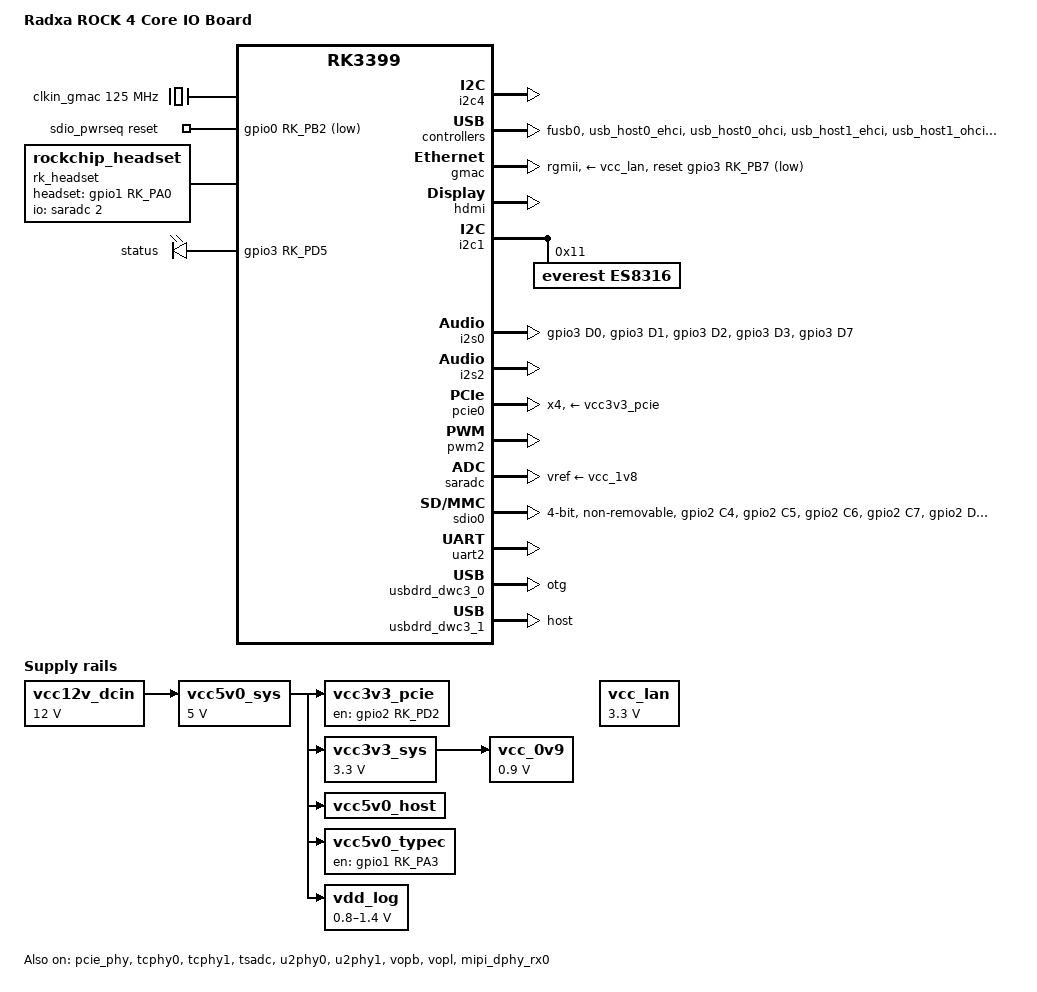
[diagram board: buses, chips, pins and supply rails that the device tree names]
// SPDX-License-Identifier: (GPL-2.0+ OR MIT)
/*
 * Copyright (c) 2019 Akash Gajjar <Akash_Gajjar@mentor.com>
 * Copyright (c) 2019 Pragnesh Patel <Pragnesh_Patel@mentor.com>
 */

/dts-v1/;
#include <dt-bindings/input/linux-event-codes.h>
#include <dt-bindings/pwm/pwm.h>
#include "rk3399-rock-4-core.dtsi"

/ {
	model = "Radxa ROCK 4 Core IO Board";
	compatible = "radxa,rock-4-core-io", "rockchip,rk3399";

	clkin_gmac: external-gmac-clock {
		compatible = "fixed-clock";
		clock-frequency = <125000000>;
		clock-output-names = "clkin_gmac";
		#clock-cells = <0>;
	};

	hdmi_sound: hdmi-sound {
		status = "okay";
		compatible = "rockchip,hdmi";
		rockchip,mclk-fs = <256>;
		rockchip,card-name = "rockchip-hdmi0";
		rockchip,cpu = <&i2s2>;
		rockchip,codec = <&hdmi>;
		rockchip,jack-det;
	};

	sdio_pwrseq: sdio-pwrseq {
		compatible = "mmc-pwrseq-simple";
		clocks = <&rk818 1>;
		clock-names = "ext_clock";
		pinctrl-names = "default";
		pinctrl-0 = <&wifi_enable_h>;
		reset-gpios = <&gpio0 RK_PB2 GPIO_ACTIVE_LOW>;
	};

	es8316_sound: es8316-sound {
		status = "okay";
		compatible = "simple-audio-card";
		simple-audio-card,format = "i2s";
		simple-audio-card,mclk-fs = <256>;
		simple-audio-card,name = "rockchip-es8316";
		simple-audio-card,dai-link@0 {
			format = "i2s";
			cpu {
				sound-dai = <&i2s0>;
			};
			codec {
				sound-dai = <&es8316>;
			};
		};
	};

	rk_headset: rk-headset {
		status = "okay";
		compatible = "rockchip_headset";
		headset_gpio = <&gpio1 RK_PA0 GPIO_ACTIVE_HIGH>;
		pinctrl-names = "default";
		pinctrl-0 = <&hp_det>;
		io-channels = <&saradc 2>;
	};

	vcc5v0_sys: vcc5v0-sys {
		compatible = "regulator-fixed";
		regulator-name = "vcc5v0_sys";
		regulator-min-microvolt = <5000000>;
		regulator-max-microvolt = <5000000>;
		regulator-always-on;
		regulator-boot-on;
		vin-supply = <&vcc12v_dcin>;
	};

	vcc12v_dcin: dc-12v {
		compatible = "regulator-fixed";
		regulator-name = "vcc12v_dcin";
		regulator-always-on;
		regulator-boot-on;
		regulator-min-microvolt = <12000000>;
		regulator-max-microvolt = <12000000>;
	};

	vcc_0v9: vcc-0v9 {
		compatible = "regulator-fixed";
		regulator-name = "vcc_0v9";
		regulator-always-on;
		regulator-boot-on;
		regulator-min-microvolt = <900000>;
		regulator-max-microvolt = <900000>;
		vin-supply = <&vcc3v3_sys>;
	};

	vcc3v3_pcie: vcc3v3-pcie-regulator {
		compatible = "regulator-fixed";
		enable-active-high;
		gpio = <&gpio2 RK_PD2 GPIO_ACTIVE_HIGH>;
		pinctrl-names = "default";
		pinctrl-0 = <&pcie_pwr_en>;
		regulator-name = "vcc3v3_pcie";
		regulator-always-on;
		regulator-boot-on;
		vin-supply = <&vcc5v0_sys>;
	};

	vcc3v3_sys: vcc3v3-sys {
		compatible = "regulator-fixed";
		regulator-name = "vcc3v3_sys";
		regulator-always-on;
		regulator-boot-on;
		regulator-min-microvolt = <3300000>;
		regulator-max-microvolt = <3300000>;
		vin-supply = <&vcc5v0_sys>;
	};

	vcc5v0_host: vcc5v0-host-regulator {
		compatible = "regulator-fixed";
		regulator-name = "vcc5v0_host";
		regulator-always-on;
		vin-supply = <&vcc5v0_sys>;
	};

	vcc5v0_typec: vcc5v0-typec-regulator {
		compatible = "regulator-fixed";
		enable-active-high;
		gpio = <&gpio1 RK_PA3 GPIO_ACTIVE_HIGH>;
		pinctrl-names = "default";
		pinctrl-0 = <&vcc5v0_typec_en>;
		regulator-name = "vcc5v0_typec";
		regulator-always-on;
		vin-supply = <&vcc5v0_sys>;
	};

	vcc_lan: vcc3v3-phy-regulator {
		compatible = "regulator-fixed";
		regulator-name = "vcc_lan";
		regulator-always-on;
		regulator-boot-on;
		regulator-min-microvolt = <3300000>;
		regulator-max-microvolt = <3300000>;

		regulator-state-mem {
			regulator-off-in-suspend;
		};
	};

	vdd_log: vdd-log {
		compatible = "pwm-regulator";
		pwms = <&pwm2 0 25000 1>;
		regulator-name = "vdd_log";
		regulator-always-on;
		regulator-boot-on;
		regulator-min-microvolt = <800000>;
		regulator-max-microvolt = <1400000>;
		vin-supply = <&vcc5v0_sys>;
	};

	leds {
		compatible = "gpio-leds";
		pinctrl-names = "default";
		pinctrl-0 = <&power_led_gpio>, <&status_led_gpio>;

		power-status {
			label = "power";
			gpios = <&gpio3 RK_PD4 GPIO_ACTIVE_HIGH>;
			linux,default-trigger = "default-on";
			status = "disabled";
		};

		system-status {
			label = "status";
			gpios = <&gpio3 RK_PD5 GPIO_ACTIVE_HIGH>;
			linux,default-trigger = "heartbeat";
		};
	};

	camera_pwdn_gpio: camera-pwdn-gpio {
		status = "disabled";
		compatible = "regulator-fixed";
		regulator-name = "camera_pwdn_gpio";
		regulator-always-on;
		regulator-boot-on;
		enable-active-high;
		gpio = <&gpio1 RK_PB5 GPIO_ACTIVE_HIGH>;
		pinctrl-names = "default";
		pinctrl-0 = <&cam_pwdn_gpio>;
	};

	clk_cam_24m: external-camera-clock-24m {
		status = "disabled";
		compatible = "fixed-clock";
		clock-frequency = <24000000>;
		clock-output-names = "clk_cam_24m";
		#clock-cells = <0>;
	};
};

&i2c4 {
	status = "okay";
};

&fusb0 {
	status = "okay";
};

&gmac {
	assigned-clocks = <&cru SCLK_RMII_SRC>;
	assigned-clock-parents = <&clkin_gmac>;
	clock_in_out = "input";
	phy-supply = <&vcc_lan>;
	phy-mode = "rgmii";
	pinctrl-names = "default";
	pinctrl-0 = <&rgmii_pins>;
	snps,reset-gpio = <&gpio3 RK_PB7 GPIO_ACTIVE_LOW>;
	snps,reset-active-low;
	snps,reset-delays-us = <0 10000 50000>;
	tx_delay = <0x28>;
	rx_delay = <0x11>;
	status = "okay";
};

&hdmi {
	pinctrl-names = "default";
	pinctrl-0 = <&hdmi_i2c_xfer>, <&hdmi_cec>;
	#address-cells = <1>;
	#size-cells = <0>;
	#sound-dai-cells = <0>;
	status = "okay";
};

&hdmi_in_vopl {
	status = "disabled";
};

&hdmi_sound {
	status = "okay";
};

&i2c1 {
	i2c-scl-rising-time-ns = <300>;
	i2c-scl-falling-time-ns = <15>;
	status = "okay";

	es8316: es8316@11 {
		compatible = "everest,es8316";
		reg = <0x11>;
		clocks = <&cru SCLK_I2S_8CH_OUT>;
		clock-names = "mclk";
		pinctrl-names = "default";
		pinctrl-0 = <&i2s_8ch_mclk>;
		#sound-dai-cells = <0>;
	};
};

&i2s0 {
	status = "okay";
	rockchip,playback-channels = <2>;
	rockchip,capture-channels = <2>;
	#sound-dai-cells = <0>;
	pinctrl-names = "default";
	pinctrl-0 = <&i2s0_8ch_bus>;
};

&i2s2 {
	#sound-dai-cells = <0>;
	status = "okay";
};

&pcie_phy {
	status = "okay";
};

&pcie0 {
	ep-gpios = <&gpio4 RK_PD3 GPIO_ACTIVE_HIGH>;
	max-link-speed = <2>;
	num-lanes = <4>;
	pinctrl-0 = <&pcie_clkreqnb_cpm>;
	pinctrl-names = "default";
	vpcie0v9-supply = <&vcc_0v9>;
	vpcie1v8-supply = <&vcc_1v8>;
	vpcie3v3-supply = <&vcc3v3_pcie>;
	status = "okay";
};

&pinctrl {
	bt {
		bt_enable_h: bt-enable-h {
			rockchip,pins = <0 RK_PB1 RK_FUNC_GPIO &pcfg_pull_none>;
		};

		bt_host_wake_l: bt-host-wake-l {
			rockchip,pins = <0 RK_PA4 RK_FUNC_GPIO &pcfg_pull_none>;
		};

		bt_wake_l: bt-wake-l {
			rockchip,pins = <2 RK_PD3 RK_FUNC_GPIO &pcfg_pull_none>;
		};
	};

	pcie {
		pcie_pwr_en: pcie-pwr-en {
			rockchip,pins = <2 RK_PD2 RK_FUNC_GPIO &pcfg_pull_none>;
		};
	};

	sdio0 {
		sdio0_bus4: sdio0-bus4 {
			rockchip,pins = <2 RK_PC4 1 &pcfg_pull_up_20ma>,
					<2 RK_PC5 1 &pcfg_pull_up_20ma>,
					<2 RK_PC6 1 &pcfg_pull_up_20ma>,
					<2 RK_PC7 1 &pcfg_pull_up_20ma>;
		};

		sdio0_cmd: sdio0-cmd {
			rockchip,pins = <2 RK_PD0 1 &pcfg_pull_up_20ma>;
		};

		sdio0_clk: sdio0-clk {
			rockchip,pins = <2 RK_PD1 1 &pcfg_pull_none_20ma>;
		};
	};

	leds {
		power_led_gpio: power_led_gpio {
			rockchip,pins = <3 RK_PD4 RK_FUNC_GPIO &pcfg_pull_none>;
		};

		status_led_gpio: status_led_gpio {
			rockchip,pins = <3 RK_PD5 RK_FUNC_GPIO &pcfg_pull_none>;
		};
	};

	usb-typec {
		vcc5v0_typec_en: vcc5v0-typec-en {
			rockchip,pins = <1 RK_PA3 RK_FUNC_GPIO &pcfg_pull_up>;
		};
	};

	wifi {
		wifi_enable_h: wifi-enable-h {
			rockchip,pins = <0 RK_PB2 RK_FUNC_GPIO &pcfg_pull_none>;
		};

		wifi_host_wake_l: wifi-host-wake-l {
			rockchip,pins = <0 RK_PA3 RK_FUNC_GPIO &pcfg_pull_none>;
		};
	};

	i2s0 {
		i2s0_8ch_bus: i2s0-8ch-bus {
			rockchip,pins =
				<3 RK_PD0 1 &pcfg_pull_none>,
				<3 RK_PD1 1 &pcfg_pull_none>,
				<3 RK_PD2 1 &pcfg_pull_none>,
				<3 RK_PD3 1 &pcfg_pull_none>,
				<3 RK_PD7 1 &pcfg_pull_none>;
		};

		i2s_8ch_mclk: i2s-8ch-mclk {
			rockchip,pins = <4 RK_PA0 1 &pcfg_pull_none>;
		};
	};

	headphone {
		hp_det: hp-det {
			rockchip,pins = <1 RK_PA0 RK_FUNC_GPIO &pcfg_pull_up>;
		};
	};

	camera {
		cam_pwdn_gpio: cam-pwdn-gpio {
			rockchip,pins = <1 RK_PB5 RK_FUNC_GPIO &pcfg_pull_up>;
		};
	};
};

&pwm2 {
	status = "okay";
};

&saradc {
	status = "okay";

	vref-supply = <&vcc_1v8>;
};

&sdio0 {
	#address-cells = <1>;
	#size-cells = <0>;
	bus-width = <4>;
	clock-frequency = <50000000>;
	cap-sdio-irq;
	cap-sd-highspeed;
	keep-power-in-suspend;
	mmc-pwrseq = <&sdio_pwrseq>;
	non-removable;
	pinctrl-names = "default";
	pinctrl-0 = <&sdio0_bus4 &sdio0_cmd &sdio0_clk>;
	sd-uhs-sdr104;
};

&tcphy0 {
	status = "okay";
};

&tcphy1 {
	status = "okay";
};

&tsadc {
	status = "okay";

	/* tshut mode 0:CRU 1:GPIO */
	rockchip,hw-tshut-mode = <1>;
	/* tshut polarity 0:LOW 1:HIGH */
	rockchip,hw-tshut-polarity = <1>;
};

&u2phy0 {
	status = "okay";

	u2phy0_otg: otg-port {
		status = "okay";
	};

	u2phy0_host: host-port {
		phy-supply = <&vcc5v0_host>;
		status = "okay";
	};
};

&u2phy1 {
	status = "okay";

	u2phy1_otg: otg-port {
		status = "okay";
	};

	u2phy1_host: host-port {
		phy-supply = <&vcc5v0_host>;
		status = "okay";
	};
};

&uart0 {
	pinctrl-names = "default";
	pinctrl-0 = <&uart0_xfer &uart0_cts &uart0_rts>;
};

&uart2 {
	status = "okay";
};

&usb_host0_ehci {
	status = "okay";
};

&usb_host0_ohci {
	status = "okay";
};

&usb_host1_ehci {
	status = "okay";
};

&usb_host1_ohci {
	status = "okay";
};

&usbdrd3_0 {
	status = "okay";
};

&usbdrd_dwc3_0 {
	status = "okay";
	dr_mode = "otg";
};

&usbdrd3_1 {
	status = "okay";
};

&usbdrd_dwc3_1 {
	status = "okay";
	dr_mode = "host";
};

&vopb {
	status = "okay";
	assigned-clocks = <&cru DCLK_VOP0_DIV>;
	assigned-clock-parents = <&cru PLL_CPLL>;
};

&vopb_mmu {
	status = "okay";
};

&vopl {
	status = "okay";
	assigned-clocks = <&cru DCLK_VOP1_DIV>;
	assigned-clock-parents = <&cru PLL_VPLL>;
};

&vopl_mmu {
	status = "okay";
};

&mipi_dphy_rx0 {
	status = "okay";

	ports {
		#address-cells = <1>;
		#size-cells = <0>;

		port@0 {
			reg = <0>;
			#address-cells = <1>;
			#size-cells = <0>;
		};

		port@1 {
			reg = <1>;
			#address-cells = <1>;
			#size-cells = <0>;
		};
	};
};

&isp0_mmu {
	status = "okay";
};
